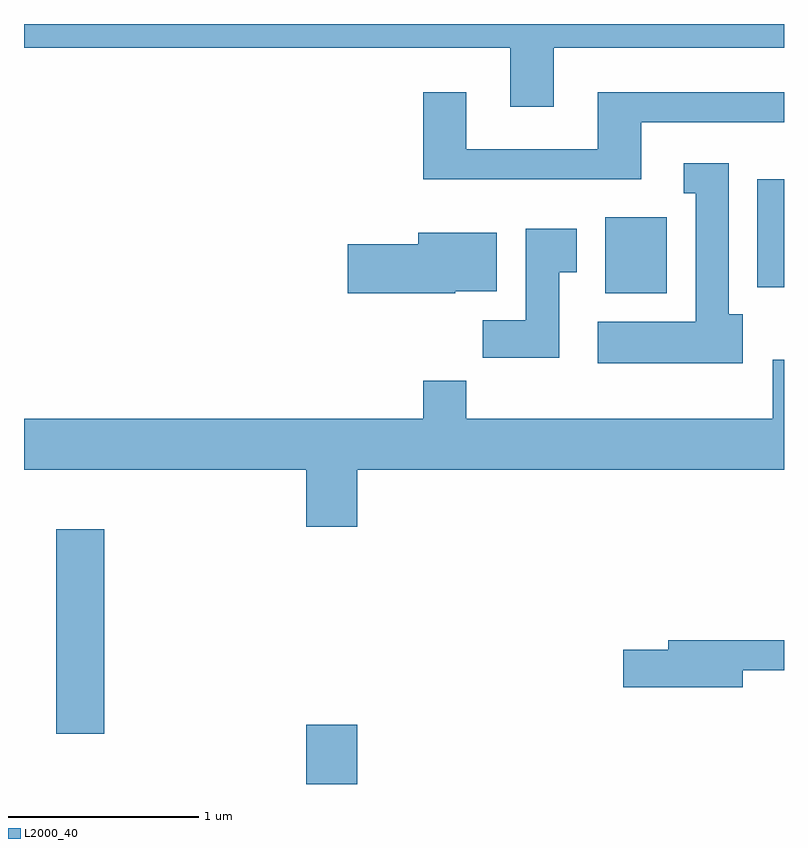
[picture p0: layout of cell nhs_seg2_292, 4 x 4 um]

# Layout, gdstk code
import gdstk
lib = gdstk.Library(unit=1e-6, precision=1e-09)
def R(c, l, rs):  # rectangles x0, y0, x1, y1
    for r in rs: c.add(gdstk.rectangle(r[:2], r[2:], *l))
def P(c, l, *ps):  # polygons
    for p in ps: c.add(gdstk.Polygon(p, *l))
L2000_40 = (2000, 40)

nhs_seg2_292 = lib.new_cell('nhs_seg2_292')
R(nhs_seg2_292, L2000_40, [(195.096,1017.802,195.364,1018.114), (193.781,1018.066,194.034,1019.144), (196.671,1020.386,196.994,1020.784), (197.471,1020.416,197.611,1020.984)])
P(nhs_seg2_292, L2000_40, [(196.399,1021.676),(197.611,1021.676),(197.611,1021.802),(193.611,1021.802),(193.611,1021.676),(196.171,1021.676),(196.171,1021.366),(196.399,1021.366)],
  [(196.859,1021.286),(197.611,1021.286),(197.611,1021.444),(196.631,1021.444),(196.631,1021.144),(195.939,1021.144),(195.939,1021.444),(195.711,1021.444),(195.711,1020.986),(196.859,1020.986)],
  [(197.394,1020.274),(197.319,1020.274),(197.319,1021.069),(197.083,1021.069),(197.083,1020.911),(197.146,1020.911),(197.146,1020.234),(196.631,1020.234),(196.631,1020.016),(197.394,1020.016)],
  [(196.429,1020.496),(196.519,1020.496),(196.519,1020.724),(196.251,1020.724),(196.251,1020.244),(196.026,1020.244),(196.026,1020.046),(196.429,1020.046)],
  [(195.88,1020.396),(196.099,1020.396),(196.099,1020.704),(195.686,1020.704),(195.686,1020.644),(195.316,1020.644),(195.316,1020.386),(195.88,1020.386)],
  [(195.364,1019.456),(197.611,1019.456),(197.611,1020.034),(197.551,1020.034),(197.551,1019.724),(195.939,1019.724),(195.939,1019.924),(195.711,1019.924),(195.711,1019.724),(193.611,1019.724),(193.611,1019.456),(195.096,1019.456),(195.096,1019.156),(195.364,1019.156)],
  [(197.394,1018.401),(197.611,1018.401),(197.611,1018.559),(197.001,1018.559),(197.001,1018.509),(196.766,1018.509),(196.766,1018.311),(197.394,1018.311)])

lib.write_gds('nhs_seg2_292.gds')
